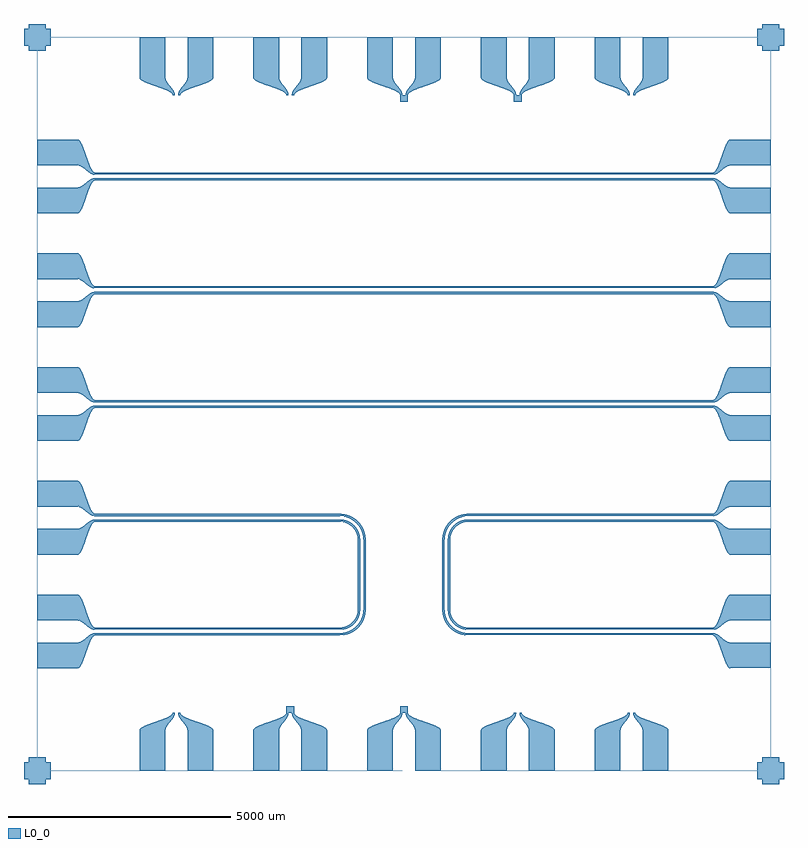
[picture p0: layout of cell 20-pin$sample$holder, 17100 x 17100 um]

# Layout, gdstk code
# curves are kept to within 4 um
import gdstk
lib = gdstk.Library(unit=1e-6, precision=1e-09)
def R(c, l, rs):  # rectangles x0, y0, x1, y1
    for r in rs: c.add(gdstk.rectangle(r[:2], r[2:], *l))
def P(c, l, *ps):  # polygons
    for p in ps: c.add(gdstk.Polygon(p, *l))
L0_0 = (0, 0)

c_20_pin_sample_holder = lib.new_cell('20-pin$sample$holder')
R(c_20_pin_sample_holder, L0_0, [(-86,-6950,-39,-6804.84)])
P(c_20_pin_sample_holder, L0_0, [(8056.5,-8550),(8056.5,-8443.5),(7950,-8443.5),(7950,-8250.3),(-39,-8250.3),(250,-8249.7),(250,-7350),(245.727,-7313.636),(208.392,-7232.828),(68.146,-7046.97),(46.557,-6998.485),(39,-6950),(-39,-6950),(-39,-6804.84),(86,-6804.84),(86.749,-6958.081),(101.069,-6986.364),(132.928,-7014.646),(188.771,-7046.97),(272,-7083.333),(701.608,-7240.909),(783.072,-7285.354),(823.277,-7325.758),(830,-7350),(830,-8249.7),(1730,-8249.7),(1730,-7350),(1736.723,-7325.758),(1782.83,-7281.313),(1867.434,-7236.869),(2256.534,-7095.455),(2379.238,-7042.929),(2451.566,-6994.444),(2469.327,-6970.202),(2474,-6950),(2521,-6950),(2506.017,-7018.687),(2468.25,-7083.333),(2346.412,-7240.909),(2323.309,-7285.354),(2311.325,-7329.798),(2310,-8249.7),(2810,-8249.7),(2808.093,-7325.758),(2795.017,-7281.313),(2771.023,-7236.869),(2625.875,-7042.929),(2605.362,-6994.444),(2599,-6950),(2646,-6950),(2652.723,-6974.242),(2672.647,-6998.485),(2757.051,-7051.01),(2863.466,-7095.455),(3243.287,-7232.828),(3330.946,-7277.273),(3380.86,-7321.717),(3390,-7350),(3390,-8249.7),(4290,-8249.7),(4290,-7350),(4299.14,-7321.717),(4349.054,-7277.273),(4436.713,-7232.828),(4816.534,-7095.455),(4922.949,-7051.01),(5007.353,-6998.485),(5027.277,-6974.242),(5034,-6950),(5081,-6950),(5074.638,-6994.444),(5054.125,-7042.929),(4908.977,-7236.869),(4884.983,-7281.313),(4871.907,-7325.758),(4870,-8249.7),(5370,-8249.7),(5368.675,-7329.798),(5356.691,-7285.354),(5333.588,-7240.909),(5211.75,-7083.333),(5173.983,-7018.687),(5159,-6950),(5206,-6950),(5210.673,-6970.202),(5228.434,-6994.444),(5300.762,-7042.929),(5423.466,-7095.455),(5812.566,-7236.869),(5897.17,-7281.313),(5943.277,-7325.758),(5950,-7350),(5950,-8249.7),(7950,-8249.7),(7950,-8056.5),(8056.5,-8056.5),(8056.5,-8000),(8247.5,-8000),(8249,-8249),(8000,-8249.7),(8249.7,-8249.7),(8250.3,-8000),(8250.3,-8250.3),(8000,-8252.5),(8249,-8251),(8247.5,-8500),(8252.5,-8500),(8251,-8251),(8500,-8252.5),(8500,-8247.5),(8251,-8249),(8252.5,-8000),(8056.5,-8000),(8056.5,-7950),(8249.7,-7950),(8249.7,-5950),(7350,-5950),(7325.758,-5943.277),(7281.313,-5897.17),(7236.869,-5812.566),(7095.455,-5423.466),(7051.01,-5317.051),(7010.606,-5247.353),(6970.202,-5210.673),(6950,-5206),(1395.329,-5203.444),(1291.183,-5184.068),(1192.226,-5146.259),(1101.694,-5091.252),(1022.543,-5020.845),(957.362,-4937.339),(908.28,-4843.462),(877.624,-4745.627),(864.36,-4640.527),(864.01,-3056.578),(873.575,-2954.5),(891.841,-2881.522),(920.766,-2808.39),(957.362,-2742.661),(1002.077,-2682.163),(1055.204,-2626.953),(1115.599,-2578.781),(1183.047,-2538.337),(1252.079,-2508.436),(1347.868,-2482.969),(1446.578,-2474.01),(6950,-2474),(6978.283,-2464.86),(7010.606,-2432.647),(7042.929,-2379.238),(7074.446,-2310),(7350,-2310),(7305.556,-2316.362),(7261.111,-2334.682),(7055.051,-2487.083),(7006.566,-2510.759),(6958.081,-2520.788),(1446.718,-2521.01),(1352.098,-2529.966),(1257.453,-2556.565),(1191.947,-2586.788),(1133.715,-2623.554),(1078.263,-2669.702),(1029.471,-2722.841),(988.212,-2782.02),(955.226,-2846.178),(931.103,-2914.167),(916.744,-2981.521),(911.01,-3056.718),(911.01,-4623.282),(916.744,-4698.479),(932.917,-4772.14),(961.963,-4848.782),(1000.475,-4917.403),(1050.765,-4982.122),(1110.287,-5038.468),(1177.663,-5085.138),(1251.337,-5121.053),(1327.718,-5144.944),(1407.383,-5157.313),(6954.04,-5159.053),(6998.485,-5166.557),(7046.97,-5188.146),(7236.869,-5331.023),(7281.313,-5355.017),(7325.758,-5368.093),(8249.7,-5370),(8249.7,-4870),(7325.758,-4871.907),(7281.313,-4884.983),(7236.869,-4908.977),(7046.97,-5051.854),(6998.485,-5073.443),(6954.04,-5080.947),(1434.79,-5080.749),(1347.418,-5069.442),(1263.792,-5041.72),(1186.968,-4998.596),(1119.749,-4941.645),(1062.932,-4870.398),(1022.366,-4792.192),(997.418,-4707.697),(989,-4620),(989.01,-3056.957),(1001.245,-2954.454),(1028.28,-2873.792),(1069.676,-2799.472),(1124.024,-2734.024),(1189.472,-2679.676),(1247.209,-2646),(1450,-2646),(1372.763,-2653.269),(1298.239,-2674.819),(1229.043,-2709.894),(1167.606,-2757.263),(1116.085,-2815.262),(1076.288,-2881.855),(1049.615,-2954.703),(1037,-3031.248),(1039.236,-4671.66),(1065.883,-4774.435),(1119.519,-4869.356),(1193.808,-4945.21),(1284.947,-4999.676),(1364.3,-5025.033),(1447.123,-5033.99),(6950,-5034),(6974.242,-5027.277),(7010.606,-4992.647),(7051.01,-4922.949),(7095.455,-4816.534),(7236.869,-4427.434),(7281.313,-4342.83),(7325.758,-4296.723),(7350,-4290),(8249.7,-4290),(8249.7,-3390),(7350,-3390),(7325.758,-3383.277),(7281.313,-3337.17),(7236.869,-3252.566),(7095.455,-2863.466),(7046.97,-2748.771),(7006.566,-2682.111),(6966.162,-2648.993),(1247.209,-2646),(1344.454,-2611.245),(1446.957,-2599.01),(6954.04,-2599.053),(6998.485,-2606.557),(7046.97,-2628.146),(7236.869,-2771.023),(7281.313,-2795.017),(7325.758,-2808.093),(8249.7,-2810),(8249.7,-2310),(7074.446,-2310),(7236.869,-1867.434),(7285.354,-1776.928),(7329.798,-1734.673),(7350,-1730),(8249.7,-1730),(8249.7,-830),(7350,-830),(7325.758,-823.277),(7281.313,-777.17),(7236.869,-692.566),(7095.455,-303.466),(7046.97,-188.771),(6998.485,-112.647),(6974.242,-92.723),(6954.04,-86.187),(-39,-86),(-39,-39),(6954.04,-39.053),(6998.485,-46.557),(7046.97,-68.146),(7236.869,-211.023),(7281.313,-235.017),(7325.758,-248.093),(8249.7,-250),(8250.3,39),(8250.3,-7950),(8443.5,-7950),(8443.5,-8056.5),(8550,-8056.5),(8550,-8443.5),(8443.5,-8443.5),(8443.5,-8550)],
  [(-7075.164,-86),(-7010.606,-50.728),(-6950,-39),(-39,-39),(-39,-86)],
  [(-8443.5,-8550),(-8443.5,-8443.5),(-8550,-8443.5),(-8550,-8056.5),(-8443.5,-8056.5),(-8443.5,-8000),(-8252.5,-8000),(-8251,-8249),(-8500,-8247.5),(-8500,-8252.5),(-8251,-8251),(-8252.5,-8500),(-8247.5,-8500),(-8249,-8251),(-8000,-8252.5),(-8250.3,-8250.3),(-8250.3,-8000),(-8249.7,-8249.7),(-8000,-8247.5),(-8249,-8249),(-8247.5,-8000),(-8443.5,-8000),(-8443.5,-7950),(-8250.3,-7950),(-8250.3,-2310),(-8249.7,-2810),(-7329.798,-2808.675),(-7285.354,-2796.691),(-7236.869,-2771.023),(-7075.164,-2646),(-6950,-2646),(-6970.202,-2650.673),(-6994.444,-2668.434),(-7042.929,-2740.762),(-7095.455,-2863.466),(-7236.869,-3252.566),(-7281.313,-3337.17),(-7325.758,-3383.277),(-7350,-3390),(-8249.7,-3390),(-8249.7,-4290),(-7350,-4290),(-7325.758,-4296.723),(-7281.313,-4342.83),(-7236.869,-4427.434),(-7095.455,-4816.534),(-7046.97,-4931.229),(-6998.485,-5007.353),(-6974.242,-5027.277),(-6954.04,-5033.813),(-1447.123,-5033.99),(-1381.26,-5028.253),(-1317.151,-5012.106),(-1214.639,-4960.59),(-1132.037,-4885.133),(-1072.231,-4789.366),(-1040.402,-4680.213),(-1036,-4620),(-1036.09,-3051.368),(-1044.381,-2977.117),(-1066.966,-2902.899),(-1101.438,-2836.615),(-1149.233,-2775.509),(-1205.262,-2726.085),(-1271.855,-2686.288),(-1341.923,-2660.356),(-1418.379,-2647.209),(-7075.164,-2646),(-7002.525,-2607.851),(-6950,-2599),(-1416.561,-2600.214),(-1332.645,-2614.188),(-1252.725,-2643.342),(-1177.066,-2688.479),(-1113.446,-2744.956),(-1061.287,-2812.162),(-1021.239,-2890.634),(-996.849,-2975.291),(-989,-3060),(-989.01,-4623.043),(-994.771,-4692.717),(-1009.183,-4754.913),(-1032.049,-4814.521),(-1062.932,-4870.398),(-1101.237,-4921.473),(-1143.95,-4964.753),(-1194.515,-5003.73),(-1249.98,-5035.347),(-1309.28,-5058.998),(-1377.283,-5075.229),(-1446.957,-5080.99),(-6954.04,-5080.947),(-6998.485,-5073.443),(-7046.97,-5051.854),(-7236.869,-4908.977),(-7281.313,-4884.983),(-7325.758,-4871.907),(-8249.7,-4870),(-8249.7,-5370),(-7325.758,-5368.093),(-7281.313,-5355.017),(-7236.869,-5331.023),(-7046.97,-5188.146),(-6998.485,-5166.557),(-6954.04,-5159.053),(-1397.577,-5156.445),(-1304.167,-5138.897),(-1212.342,-5103.777),(-1128.424,-5052.562),(-1055.204,-4986.957),(-995.118,-4909.143),(-951.403,-4824.75),(-922.507,-4730.78),(-911.16,-4633.125),(-911.01,-3056.718),(-919.38,-2965.327),(-937.788,-2892.192),(-964.785,-2825.292),(-1000.475,-2762.597),(-1046.385,-2702.766),(-1099.255,-2650.736),(-1158.093,-2606.887),(-1221.218,-2571.963),(-1288.441,-2545.782),(-1365.034,-2527.739),(-1446.718,-2521.01),(-6954.04,-2520.947),(-6998.485,-2513.443),(-7046.97,-2491.854),(-7236.869,-2348.977),(-7281.313,-2324.983),(-7325.758,-2311.907),(-8250.3,-2310),(-8250.3,39),(-8249.7,-250),(-7329.798,-248.675),(-7285.354,-236.691),(-7236.869,-211.023),(-7075.164,-86),(-6950,-86),(-6970.202,-90.673),(-6994.444,-108.434),(-7042.929,-180.762),(-7095.455,-303.466),(-7236.869,-692.566),(-7281.313,-777.17),(-7325.758,-823.277),(-7350,-830),(-8249.7,-830),(-8249.7,-1730),(-7350,-1730),(-7325.758,-1736.723),(-7281.313,-1782.83),(-7236.869,-1867.434),(-7095.455,-2256.534),(-7046.97,-2371.229),(-7006.566,-2437.889),(-6966.162,-2471.007),(-1426.053,-2474.489),(-1301.088,-2493.236),(-1183.047,-2538.337),(-1077.42,-2607.695),(-989.117,-2698.085),(-939.682,-2771.953),(-901.987,-2852.448),(-877.624,-2934.373),(-865.208,-3022.385),(-864.639,-4647.365),(-885.014,-4775.521),(-934.714,-4899.064),(-1008.764,-5005.626),(-1107.221,-5095.288),(-1183.047,-5141.663),(-1265.015,-5176.037),(-1351.239,-5197.618),(-1439.735,-5205.91),(-6966.162,-5208.993),(-7006.566,-5242.111),(-7046.97,-5308.771),(-7095.455,-5423.466),(-7236.869,-5812.566),(-7281.313,-5897.17),(-7325.758,-5943.277),(-7350,-5950),(-8249.7,-5950),(-8249.7,-7950),(-8056.5,-7950),(-8056.5,-8056.5),(-7950,-8056.5),(-7950,-8249.7),(-5950,-8249.7),(-5950,-7350),(-5940.86,-7321.717),(-5890.946,-7277.273),(-5803.287,-7232.828),(-5423.466,-7095.455),(-5317.051,-7051.01),(-5232.647,-6998.485),(-5212.723,-6974.242),(-5206,-6950),(-5159,-6950),(-5165.362,-6994.444),(-5185.875,-7042.929),(-5331.023,-7236.869),(-5355.017,-7281.313),(-5368.093,-7325.758),(-5370,-8249.7),(-4870,-8249.7),(-4871.325,-7329.798),(-4883.309,-7285.354),(-4906.412,-7240.909),(-5028.25,-7083.333),(-5066.017,-7018.687),(-5081,-6950),(-5034,-6950),(-5029.327,-6970.202),(-5011.566,-6994.444),(-4939.238,-7042.929),(-4816.534,-7095.455),(-4427.434,-7236.869),(-4342.83,-7281.313),(-4296.723,-7325.758),(-4290,-7350),(-4290,-8249.7),(-3390,-8249.7),(-3390,-7350),(-3380.86,-7321.717),(-3330.946,-7277.273),(-3243.287,-7232.828),(-2863.466,-7095.455),(-2757.051,-7051.01),(-2672.647,-6998.485),(-2652.723,-6974.242),(-2646,-6950),(-2599,-6950),(-2605.362,-6994.444),(-2625.875,-7042.929),(-2771.023,-7236.869),(-2795.017,-7281.313),(-2808.093,-7325.758),(-2810,-8249.7),(-2310,-8249.7),(-2310,-7350),(-2315.267,-7309.596),(-2354.304,-7228.788),(-2491.854,-7046.97),(-2513.443,-6998.485),(-2521,-6950),(-2646,-6950),(-2646,-6800.815),(-2474,-6800.815),(-2473.251,-6958.081),(-2458.931,-6986.364),(-2427.072,-7014.646),(-2371.229,-7046.97),(-2288,-7083.333),(-1858.392,-7240.909),(-1776.928,-7285.354),(-1736.723,-7325.758),(-1730,-7350),(-1730,-8249.7),(-830,-8249.7),(-830,-7350),(-820.86,-7321.717),(-770.946,-7277.273),(-683.287,-7232.828),(-303.466,-7095.455),(-197.051,-7051.01),(-112.647,-6998.485),(-92.723,-6974.242),(-86,-6950),(-39,-6950),(-45.362,-6994.444),(-63.682,-7038.889),(-218.506,-7248.99),(-242.443,-7301.515),(-250,-7350),(-250,-8249.7),(-39,-8250.3),(-7950,-8250.3),(-7950,-8443.5),(-8056.5,-8443.5),(-8056.5,-8550)],
  [(8249.7,39),(8249.7,250),(7074.446,250),(7236.869,692.566),(7285.354,783.072),(7329.798,825.327),(7350,830),(8249.7,830),(8249.7,1730),(7350,1730),(7325.758,1736.723),(7281.313,1782.83),(7236.869,1867.434),(7095.455,2256.534),(7046.97,2371.229),(7002.525,2442.792),(6978.283,2464.86),(6958.081,2473.251),(-7075.164,2474),(-7010.606,2509.272),(-6950,2521),(6950,2521),(6994.444,2514.638),(7042.929,2494.125),(7236.869,2348.977),(7281.313,2324.983),(7325.758,2311.907),(8249.7,2310),(8249.7,2810),(7074.446,2810),(7236.869,3252.566),(7285.354,3343.072),(7329.798,3385.327),(7350,3390),(8249.7,3390),(8249.7,4290),(7350,4290),(7325.758,4296.723),(7281.313,4342.83),(7236.869,4427.434),(7095.455,4816.534),(7046.97,4931.229),(7002.525,5002.792),(6978.283,5024.86),(6958.081,5033.251),(-7075.164,5034),(-7010.606,5069.272),(-6950,5081),(6950,5081),(6994.444,5074.638),(7042.929,5054.125),(7236.869,4908.977),(7281.313,4884.983),(7325.758,4871.907),(8249.7,4870),(8249.7,5370),(7074.446,5370),(7236.869,5812.566),(7285.354,5903.072),(7329.798,5945.327),(7350,5950),(8249.7,5950),(8249.7,7950),(8056.5,7950),(8056.5,8056.5),(7950,8056.5),(7950,8249.7),(8249,8249),(8249.7,8000),(8249.7,8249.7),(-8250.3,8249.7),(-8000,8252.5),(-8249,8251),(-8247.5,8500),(-8443.5,8500),(-8443.5,8550),(-8056.5,8550),(-8056.5,8443.5),(-7950,8443.5),(-7950,8250.3),(7950,8250.3),(7950,8443.5),(8056.5,8443.5),(8056.5,8500),(8247.5,8500),(8249,8251),(8000,8250.3),(8250.3,8250.3),(8250.3,8000),(8251,8249),(8500,8247.5),(8500,8252.5),(8251,8251),(8252.5,8500),(8056.5,8500),(8056.5,8550),(8443.5,8550),(8443.5,8443.5),(8550,8443.5),(8550,8056.5),(8443.5,8056.5),(8443.5,7950),(8250.3,7950)],
  [(-8250.3,39),(-8250.3,7950),(-8443.5,7950),(-8443.5,8056.5),(-8550,8056.5),(-8550,8443.5),(-8443.5,8443.5),(-8443.5,8500),(-8252.5,8500),(-8251,8251),(-8500,8252.5),(-8500,8247.5),(-8251,8249),(-8252.5,8000),(-8250.3,8249.7),(-8249.7,8000),(-8249,8249),(-250,8249.7),(-248.093,7325.758),(-235.017,7281.313),(-211.023,7236.869),(-65.875,7042.929),(-45.362,6994.444),(-39,6950),(39,6950),(46.557,6998.485),(68.146,7046.97),(208.392,7232.828),(245.727,7313.636),(250,7350),(250,8249.7),(2310,8249.7),(2311.907,7325.758),(2324.983,7281.313),(2348.977,7236.869),(2494.125,7042.929),(2514.638,6994.444),(2521,6950),(2599,6950),(2606.557,6998.485),(2628.146,7046.97),(2768.392,7232.828),(2805.727,7313.636),(2810,7350),(2810,8249.7),(5950,8249.7),(5950,7350),(5943.277,7325.758),(5897.17,7281.313),(5812.566,7236.869),(5423.466,7095.455),(5300.762,7042.929),(5228.434,6994.444),(5210.673,6970.202),(5206,6950),(5159,6950),(5173.983,7018.687),(5211.75,7083.333),(5333.588,7240.909),(5356.691,7285.354),(5368.675,7329.798),(5370,8249.7),(4870,8249.7),(4871.907,7325.758),(4884.983,7281.313),(4908.977,7236.869),(5054.125,7042.929),(5074.638,6994.444),(5081,6950),(5034,6950),(5027.277,6974.242),(5007.353,6998.485),(4922.949,7051.01),(4816.534,7095.455),(4436.713,7232.828),(4349.054,7277.273),(4299.14,7321.717),(4290,7350),(4290,8249.7),(3390,8249.7),(3390,7350),(3383.277,7325.758),(3343.072,7285.354),(3261.608,7240.909),(2832,7083.333),(2748.771,7046.97),(2692.928,7014.646),(2661.069,6986.364),(2646.749,6958.081),(2646,6799.217),(2474,6799.217),(2473.251,6958.081),(2458.931,6986.364),(2427.072,7014.646),(2371.229,7046.97),(2288,7083.333),(1867.434,7236.869),(1782.83,7281.313),(1739.14,7321.717),(1730,7350),(1730,8249.7),(830,8249.7),(830,7350),(823.277,7325.758),(783.072,7285.354),(701.608,7240.909),(272,7083.333),(188.771,7046.97),(132.928,7014.646),(101.069,6986.364),(86.749,6958.081),(86,6799.228),(-86,6799.228),(-86.749,6958.081),(-101.069,6986.364),(-132.928,7014.646),(-188.771,7046.97),(-272,7083.333),(-692.566,7236.869),(-777.17,7281.313),(-820.86,7321.717),(-830,7350),(-830,8249.7),(-1730,8249.7),(-1730,7350),(-1736.723,7325.758),(-1782.83,7281.313),(-1867.434,7236.869),(-2256.534,7095.455),(-2379.238,7042.929),(-2451.566,6994.444),(-2469.327,6970.202),(-2474,6950),(-2521,6950),(-2506.017,7018.687),(-2468.25,7083.333),(-2346.412,7240.909),(-2323.309,7285.354),(-2311.325,7329.798),(-2310,8249.7),(-2810,8249.7),(-2808.093,7325.758),(-2795.017,7281.313),(-2771.023,7236.869),(-2625.875,7042.929),(-2605.362,6994.444),(-2599,6950),(-2646,6950),(-2652.723,6974.242),(-2672.647,6998.485),(-2757.051,7051.01),(-2863.466,7095.455),(-3243.287,7232.828),(-3330.946,7277.273),(-3380.86,7321.717),(-3390,7350),(-3390,8249.7),(-4290,8249.7),(-4290,7350),(-4296.723,7325.758),(-4342.83,7281.313),(-4427.434,7236.869),(-4816.534,7095.455),(-4939.238,7042.929),(-5011.566,6994.444),(-5029.327,6970.202),(-5034,6950),(-5081,6950),(-5066.017,7018.687),(-5028.25,7083.333),(-4906.412,7240.909),(-4883.309,7285.354),(-4871.325,7329.798),(-4870,8249.7),(-5370,8249.7),(-5368.093,7325.758),(-5355.017,7281.313),(-5331.023,7236.869),(-5185.875,7042.929),(-5165.362,6994.444),(-5159,6950),(-5206,6950),(-5212.723,6974.242),(-5232.647,6998.485),(-5317.051,7051.01),(-5423.466,7095.455),(-5803.287,7232.828),(-5890.946,7277.273),(-5940.86,7321.717),(-5950,7350),(-5950,8249.7),(-7950,8249.7),(-7950,8056.5),(-8056.5,8056.5),(-8056.5,7950),(-8249.7,7950),(-8249.7,5950),(-7350,5950),(-7325.758,5943.277),(-7281.313,5897.17),(-7236.869,5812.566),(-7095.455,5423.466),(-7046.97,5308.771),(-7002.525,5237.208),(-6978.283,5215.14),(-6958.081,5206.749),(6950,5206),(6978.283,5215.14),(7010.606,5247.353),(7042.929,5300.762),(7074.446,5370),(7350,5370),(7305.556,5363.638),(7261.111,5345.318),(7051.01,5190.494),(6998.485,5166.557),(6950,5159),(-6954.04,5159.053),(-6998.485,5166.557),(-7046.97,5188.146),(-7236.869,5331.023),(-7281.313,5355.017),(-7325.758,5368.093),(-8249.7,5370),(-8249.7,4870),(-7329.798,4871.325),(-7285.354,4883.309),(-7236.869,4908.977),(-7075.164,5034),(-6950,5034),(-6970.202,5029.327),(-6994.444,5011.566),(-7042.929,4939.238),(-7095.455,4816.534),(-7236.869,4427.434),(-7281.313,4342.83),(-7325.758,4296.723),(-7350,4290),(-8249.7,4290),(-8249.7,3390),(-7350,3390),(-7325.758,3383.277),(-7281.313,3337.17),(-7236.869,3252.566),(-7095.455,2863.466),(-7046.97,2748.771),(-7002.525,2677.208),(-6978.283,2655.14),(-6958.081,2646.749),(6950,2646),(6978.283,2655.14),(7010.606,2687.353),(7042.929,2740.762),(7074.446,2810),(7350,2810),(7305.556,2803.638),(7261.111,2785.318),(7051.01,2630.494),(6998.485,2606.557),(6950,2599),(-6954.04,2599.053),(-6998.485,2606.557),(-7046.97,2628.146),(-7236.869,2771.023),(-7281.313,2795.017),(-7325.758,2808.093),(-8249.7,2810),(-8249.7,2310),(-7329.798,2311.325),(-7285.354,2323.309),(-7236.869,2348.977),(-7075.164,2474),(-6950,2474),(-6970.202,2469.327),(-6994.444,2451.566),(-7042.929,2379.238),(-7095.455,2256.534),(-7236.869,1867.434),(-7281.313,1782.83),(-7325.758,1736.723),(-7350,1730),(-8249.7,1730),(-8249.7,830),(-7350,830),(-7325.758,823.277),(-7281.313,777.17),(-7236.869,692.566),(-7095.455,303.466),(-7046.97,188.771),(-7006.566,122.111),(-6966.162,88.993),(6950,86),(6978.283,95.14),(7010.606,127.353),(7042.929,180.762),(7074.446,250),(7350,250),(7305.556,243.638),(7261.111,225.318),(7051.01,70.494),(6998.485,46.557),(6950,39),(-6954.04,39.053),(-6998.485,46.557),(-7046.97,68.146),(-7236.869,211.023),(-7281.313,235.017),(-7325.758,248.093),(-8249.7,250)])

lib.write_gds('20-pin_sample_holder.gds')
